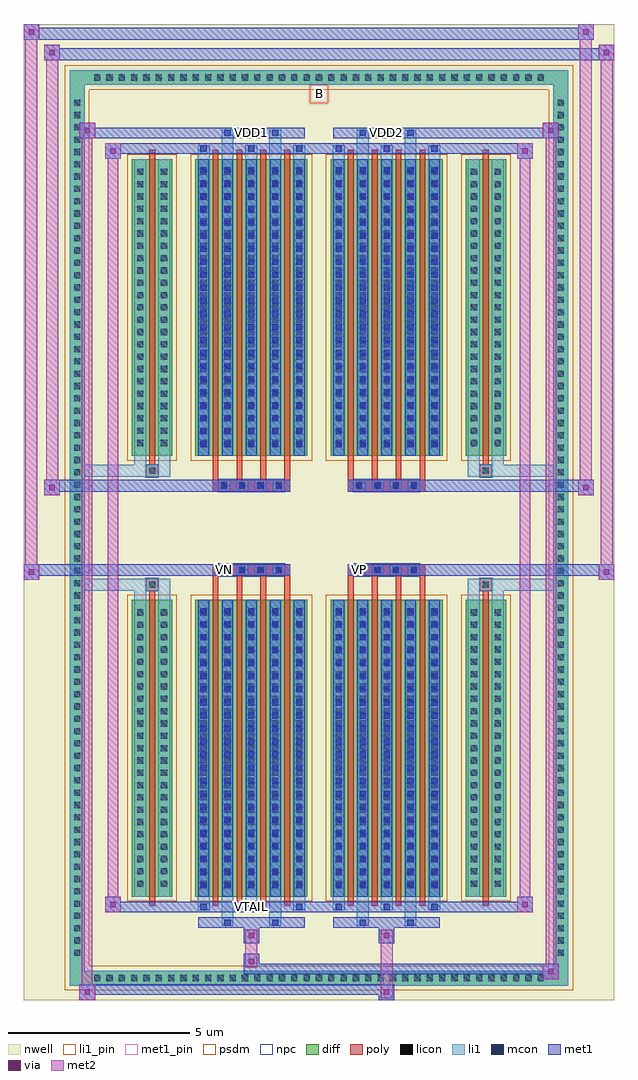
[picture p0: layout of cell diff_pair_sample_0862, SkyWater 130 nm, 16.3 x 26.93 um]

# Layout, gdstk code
import gdstk
lib = gdstk.Library(unit=1e-6, precision=5e-09)
def R(c, l, rs):  # rectangles x0, y0, x1, y1
    for r in rs: c.add(gdstk.rectangle(r[:2], r[2:], *l))
def A(c, l, x, y, w, h, nx, ny, dx, dy):  # array of equal rectangles
    R(c, l, [(x+i*dx, y+j*dy, x+i*dx+w, y+j*dy+h) for i in range(nx) for j in range(ny)])
def P(c, l, *ps):  # polygons
    for p in ps: c.add(gdstk.Polygon(p, *l))
nwell = (64, 20)
diff = (65, 20)
poly = (66, 20)
licon = (66, 44)
li1_pin = (67, 16)
li1 = (67, 20)
mcon = (67, 44)
met1_pin = (68, 16)
met1 = (68, 20)
via = (68, 44)
met2 = (69, 20)
psdm = (94, 20)
npc = (95, 20)

diff_pair_sample_0862 = lib.new_cell('diff_pair_sample_0862')
R(diff_pair_sample_0862, nwell, [(-8.15,-13.03,8.15,13.9), (-5.47,-11.22,-0.01,-0.8), (0.01,-11.22,5.47,-0.8), (-5.47,0.8,-0.01,11.22), (0.01,0.8,5.47,11.22)])
A(diff_pair_sample_0862, diff, -6.325, -12.63, 0.41, 0.41, 37, 2, 0.34, 24.85)
A(diff_pair_sample_0862, diff, -6.88, -11.935, 0.41, 0.41, 1, 70, 0, 0.34)
A(diff_pair_sample_0862, diff, 6.47, -11.935, 0.41, 0.41, 1, 70, 0, 0.34)
R(diff_pair_sample_0862, diff, [(-6.325,-12.63,6.325,-12.22), (-6.88,-11.935,-6.47,11.935), (6.47,-11.935,6.88,11.935), (-5.16,-10.175,-4.05,-1.985), (-3.41,-10.175,-0.32,-1.985), (0.32,-10.175,3.41,-1.985), (4.05,-10.175,5.16,-1.985), (-5.16,1.985,-4.05,10.175), (-3.41,1.985,-0.32,10.175), (0.32,1.985,3.41,10.175), (4.05,1.985,5.16,10.175), (-6.325,12.22,6.325,12.63)])
P(diff_pair_sample_0862, diff, [(6.88,12.63),(-6.88,12.63),(-6.88,-12.22),(-6.47,-12.22),(-6.47,12.22),(6.47,12.22),(6.47,-12.22),(-6.47,-12.22),(-6.88,-12.22),(-6.88,-12.63),(6.88,-12.63)])
A(diff_pair_sample_0862, poly, -2.935, -10.425, 0.16, 8.69, 4, 2, 0.66, 12.16)
A(diff_pair_sample_0862, poly, 0.795, -10.425, 0.16, 8.69, 4, 2, 0.66, 12.16)
A(diff_pair_sample_0862, poly, -2.935, -1.735, 0.16, 0.405, 4, 2, 0.66, 3.065)
A(diff_pair_sample_0862, poly, 0.795, -1.735, 0.16, 0.405, 4, 2, 0.66, 3.065)
A(diff_pair_sample_0862, poly, -2.78, -1.33, 0.33, 0.33, 4, 2, 0.5, 2.33)
A(diff_pair_sample_0862, poly, 0.95, -1.33, 0.33, 0.33, 4, 2, 0.5, 2.33)
R(diff_pair_sample_0862, poly, [(-4.685,-10.425,-4.525,-1.735), (4.525,-10.425,4.685,-1.735), (-4.77,-1.735,-4.44,-1.405), (-4.77,-1.735,-4.44,-1.405), (4.44,-1.735,4.77,-1.405), (4.44,-1.735,4.77,-1.405), (-2.935,-1.33,-0.795,-1), (0.795,-1.33,2.935,-1), (-2.935,1,-0.795,1.33), (0.795,1,2.935,1.33), (-4.77,1.405,-4.44,1.735), (-4.77,1.405,-4.44,1.735), (4.44,1.405,4.77,1.735), (4.44,1.405,4.77,1.735), (-4.685,1.735,-4.525,10.425), (4.525,1.735,4.685,10.425)])
A(diff_pair_sample_0862, licon, -6.205, -12.51, 0.17, 0.17, 37, 2, 0.34, 24.85)
A(diff_pair_sample_0862, licon, -6.76, -11.815, 0.17, 0.17, 1, 70, 0, 0.34)
A(diff_pair_sample_0862, licon, 6.59, -11.815, 0.17, 0.17, 1, 70, 0, 0.34)
A(diff_pair_sample_0862, licon, -5.02, -9.905, 0.17, 0.17, 1, 23, 0, 0.34)
A(diff_pair_sample_0862, licon, -4.36, -9.905, 0.17, 0.17, 1, 23, 0, 0.34)
A(diff_pair_sample_0862, licon, -3.27, -9.905, 0.17, 0.17, 5, 23, 0.66, 0.34)
A(diff_pair_sample_0862, licon, 0.46, -9.905, 0.17, 0.17, 5, 23, 0.66, 0.34)
A(diff_pair_sample_0862, licon, 4.19, -9.905, 0.17, 0.17, 1, 23, 0, 0.34)
A(diff_pair_sample_0862, licon, 4.85, -9.905, 0.17, 0.17, 1, 23, 0, 0.34)
A(diff_pair_sample_0862, licon, -2.7, -1.25, 0.17, 0.17, 4, 2, 0.5, 2.33)
A(diff_pair_sample_0862, licon, 1.03, -1.25, 0.17, 0.17, 4, 2, 0.5, 2.33)
A(diff_pair_sample_0862, licon, -5.02, 2.255, 0.17, 0.17, 1, 23, 0, 0.34)
A(diff_pair_sample_0862, licon, -4.36, 2.255, 0.17, 0.17, 1, 23, 0, 0.34)
A(diff_pair_sample_0862, licon, -3.27, 2.255, 0.17, 0.17, 5, 23, 0.66, 0.34)
A(diff_pair_sample_0862, licon, 0.46, 2.255, 0.17, 0.17, 5, 23, 0.66, 0.34)
A(diff_pair_sample_0862, licon, 4.19, 2.255, 0.17, 0.17, 1, 23, 0, 0.34)
A(diff_pair_sample_0862, licon, 4.85, 2.255, 0.17, 0.17, 1, 23, 0, 0.34)
R(diff_pair_sample_0862, licon, [(-4.69,-1.655,-4.52,-1.485), (4.52,-1.655,4.69,-1.485), (-4.69,1.485,-4.52,1.655), (4.52,1.485,4.69,1.655)])
R(diff_pair_sample_0862, li1_pin, [(-0.25,11.72,0.25,12.22)])
A(diff_pair_sample_0862, li1, -6.285, -12.59, 0.33, 0.33, 37, 2, 0.34, 24.85)
A(diff_pair_sample_0862, li1, -6.84, -11.895, 0.33, 0.33, 1, 70, 0, 0.34)
A(diff_pair_sample_0862, li1, 6.51, -11.895, 0.33, 0.33, 1, 70, 0, 0.34)
A(diff_pair_sample_0862, li1, -3.35, -10.55, 0.33, 0.375, 3, 2, 1.32, 20.725)
A(diff_pair_sample_0862, li1, -3.27, -10.55, 0.17, 0.17, 3, 2, 1.32, 20.93)
A(diff_pair_sample_0862, li1, 0.38, -10.55, 0.33, 0.375, 3, 2, 1.32, 20.725)
A(diff_pair_sample_0862, li1, 0.46, -10.55, 0.17, 0.17, 3, 2, 1.32, 20.93)
A(diff_pair_sample_0862, li1, -3.35, -10.175, 0.33, 8.19, 5, 2, 0.66, 12.16)
A(diff_pair_sample_0862, li1, 0.38, -10.175, 0.33, 8.19, 5, 2, 0.66, 12.16)
A(diff_pair_sample_0862, li1, -5.1, -9.985, 0.33, 0.33, 1, 23, 0, 0.34)
A(diff_pair_sample_0862, li1, -4.44, -9.985, 0.33, 0.33, 1, 23, 0, 0.34)
A(diff_pair_sample_0862, li1, -3.35, -9.985, 0.33, 0.33, 5, 23, 0.66, 0.34)
A(diff_pair_sample_0862, li1, 0.38, -9.985, 0.33, 0.33, 5, 23, 0.66, 0.34)
A(diff_pair_sample_0862, li1, 4.11, -9.985, 0.33, 0.33, 1, 23, 0, 0.34)
A(diff_pair_sample_0862, li1, 4.77, -9.985, 0.33, 0.33, 1, 23, 0, 0.34)
A(diff_pair_sample_0862, li1, -3.27, -9.945, 0.17, 0.17, 5, 22, 0.66, 0.36)
A(diff_pair_sample_0862, li1, -3.27, -9.945, 0.17, 7.73, 5, 2, 0.66, 12.16)
A(diff_pair_sample_0862, li1, 0.46, -9.945, 0.17, 0.17, 5, 22, 0.66, 0.36)
A(diff_pair_sample_0862, li1, 0.46, -9.945, 0.17, 7.73, 5, 2, 0.66, 12.16)
A(diff_pair_sample_0862, li1, -5.1, -1.735, 0.33, 0.33, 3, 2, 0.33, 3.14)
A(diff_pair_sample_0862, li1, 4.11, -1.735, 0.33, 0.33, 3, 2, 0.33, 3.14)
A(diff_pair_sample_0862, li1, -2.78, -1.33, 0.33, 0.33, 4, 2, 0.5, 2.33)
A(diff_pair_sample_0862, li1, 0.95, -1.33, 0.33, 0.33, 4, 2, 0.5, 2.33)
A(diff_pair_sample_0862, li1, -5.1, 2.175, 0.33, 0.33, 1, 23, 0, 0.34)
A(diff_pair_sample_0862, li1, -4.44, 2.175, 0.33, 0.33, 1, 23, 0, 0.34)
A(diff_pair_sample_0862, li1, -3.35, 2.175, 0.33, 0.33, 5, 23, 0.66, 0.34)
A(diff_pair_sample_0862, li1, 0.38, 2.175, 0.33, 0.33, 5, 23, 0.66, 0.34)
A(diff_pair_sample_0862, li1, 4.11, 2.175, 0.33, 0.33, 1, 23, 0, 0.34)
A(diff_pair_sample_0862, li1, 4.77, 2.175, 0.33, 0.33, 1, 23, 0, 0.34)
A(diff_pair_sample_0862, li1, -3.27, 2.215, 0.17, 0.17, 5, 22, 0.66, 0.36)
A(diff_pair_sample_0862, li1, 0.46, 2.215, 0.17, 0.17, 5, 22, 0.66, 0.36)
R(diff_pair_sample_0862, li1, [(-6.88,-12.63,-6.47,-12.22), (-6.88,-12.63,-6.47,-12.22), (-6.47,-12.63,6.47,-12.22), (6.47,-12.63,6.88,-12.22), (6.47,-12.63,6.88,-12.22), (-6.88,-12.22,-6.47,12.22), (6.47,-12.22,6.88,12.22), (-2.69,-10.98,-2.36,-10.175), (-2.61,-10.98,-2.44,-10.81), (-1.37,-10.98,-1.04,-10.175), (-1.29,-10.98,-1.12,-10.81), (1.04,-10.98,1.37,-10.175), (1.12,-10.98,1.29,-10.81), (2.36,-10.98,2.69,-10.175), (2.44,-10.98,2.61,-10.81), (-5.1,-10.175,-4.77,-1.985), (-4.44,-10.175,-4.11,-1.985), (4.11,-10.175,4.44,-1.985), (4.77,-10.175,5.1,-1.985), (-5.1,-1.985,-4.77,-1.405), (-4.44,-1.985,-4.11,-1.405), (4.11,-1.985,4.44,-1.405), (4.77,-1.985,5.1,-1.405), (-6.88,-1.735,-4.77,-1.405), (4.44,-1.735,6.88,-1.405), (-6.88,1.405,-4.77,1.735), (-5.1,1.405,-4.77,1.985), (-4.44,1.405,-4.11,1.985), (4.11,1.405,4.44,1.985), (4.44,1.405,6.88,1.735), (4.77,1.405,5.1,1.985), (-5.1,1.985,-4.77,10.175), (-4.44,1.985,-4.11,10.175), (4.11,1.985,4.44,10.175), (4.77,1.985,5.1,10.175), (-2.69,10.175,-2.36,10.98), (-1.37,10.175,-1.04,10.98), (1.04,10.175,1.37,10.98), (2.36,10.175,2.69,10.98), (-2.61,10.81,-2.44,10.98), (-1.29,10.81,-1.12,10.98), (1.12,10.81,1.29,10.98), (2.44,10.81,2.61,10.98), (-6.88,12.22,-6.47,12.63), (-6.88,12.22,-6.47,12.63), (-6.47,12.22,6.47,12.63), (6.47,12.22,6.88,12.63), (6.47,12.22,6.88,12.63)])
A(diff_pair_sample_0862, mcon, -3.27, -10.55, 0.17, 0.17, 3, 2, 1.32, 20.93)
A(diff_pair_sample_0862, mcon, 0.46, -10.55, 0.17, 0.17, 3, 2, 1.32, 20.93)
A(diff_pair_sample_0862, mcon, -3.27, -9.945, 0.17, 0.17, 5, 22, 0.66, 0.36)
A(diff_pair_sample_0862, mcon, 0.46, -9.945, 0.17, 0.17, 5, 22, 0.66, 0.36)
A(diff_pair_sample_0862, mcon, -2.7, -1.25, 0.17, 0.17, 4, 2, 0.5, 2.33)
A(diff_pair_sample_0862, mcon, 1.03, -1.25, 0.17, 0.17, 4, 2, 0.5, 2.33)
A(diff_pair_sample_0862, mcon, -3.27, 2.215, 0.17, 0.17, 5, 22, 0.66, 0.36)
A(diff_pair_sample_0862, mcon, 0.46, 2.215, 0.17, 0.17, 5, 22, 0.66, 0.36)
R(diff_pair_sample_0862, mcon, [(-2.61,-10.98,-2.44,-10.81), (-1.29,-10.98,-1.12,-10.81), (1.12,-10.98,1.29,-10.81), (2.44,-10.98,2.61,-10.81), (-2.61,10.81,-2.44,10.98), (-1.29,10.81,-1.12,10.98), (1.12,10.81,1.29,10.98), (2.44,10.81,2.61,10.98)])
R(diff_pair_sample_0862, met1_pin, [(-2,-10.59,-1.73,-10.32), (-2.75,-1.29,-2.48,-1.02), (0.98,-1.29,1.25,-1.02), (-2,10.77,-1.73,11.04), (1.73,10.77,2,11.04)])
A(diff_pair_sample_0862, met1, -3.33, -10.61, 0.29, 0.29, 3, 2, 1.32, 20.93)
A(diff_pair_sample_0862, met1, 0.4, -10.61, 0.29, 0.29, 3, 2, 1.32, 20.93)
A(diff_pair_sample_0862, met1, -3.33, -10.175, 0.29, 8.19, 5, 2, 0.66, 12.16)
A(diff_pair_sample_0862, met1, 0.4, -10.175, 0.29, 8.19, 5, 2, 0.66, 12.16)
A(diff_pair_sample_0862, met1, -3.33, -10.005, 0.29, 0.29, 5, 22, 0.66, 0.36)
A(diff_pair_sample_0862, met1, 0.4, -10.005, 0.29, 0.29, 5, 22, 0.66, 0.36)
A(diff_pair_sample_0862, met1, -2.76, -1.31, 0.29, 0.29, 4, 2, 0.5, 2.33)
A(diff_pair_sample_0862, met1, 0.97, -1.31, 0.29, 0.29, 4, 2, 0.5, 2.33)
A(diff_pair_sample_0862, met1, -3.33, 2.155, 0.29, 0.29, 5, 22, 0.66, 0.36)
A(diff_pair_sample_0862, met1, 0.4, 2.155, 0.29, 0.29, 5, 22, 0.66, 0.36)
R(diff_pair_sample_0862, met1, [(-6.61,-13.03,-6.18,-12.6), (1.65,-13.03,2.08,-12.6), (-6.61,-12.89,2.08,-12.6), (6.18,-12.46,6.61,-12.03), (-2.08,-12.32,6.61,-12.03), (-2.08,-12.18,-1.65,-11.75), (-2.08,-11.47,-1.65,-11.04), (1.65,-11.47,2.08,-11.04), (-3.33,-11.04,-0.4,-10.75), (-2.67,-11.04,-2.38,-10.75), (-1.35,-11.04,-1.06,-10.75), (0.4,-11.04,3.33,-10.75), (1.06,-11.04,1.35,-10.75), (2.38,-11.04,2.67,-10.75), (-5.9,-10.61,-5.47,-10.18), (-5.9,-10.61,-3.33,-10.32), (-3.33,-10.61,-0.4,-10.32), (-0.4,-10.61,0.4,-10.32), (0.4,-10.61,3.33,-10.32), (3.33,-10.61,5.9,-10.32), (5.47,-10.61,5.9,-10.18), (-8.15,-1.43,-7.72,-1), (7.72,-1.43,8.15,-1), (-8.15,-1.33,-0.795,-1), (-2.935,-1.33,-0.795,-1), (0.795,-1.33,2.935,-1), (0.795,-1.33,8.15,-1), (-7.58,0.9,-7.15,1.33), (7.15,0.9,7.58,1.33), (-7.58,1,-2.935,1.33), (-2.935,1,-0.795,1.33), (0.795,1,2.935,1.33), (2.935,1,7.58,1.33), (-5.9,10.18,-5.47,10.61), (5.47,10.18,5.9,10.61), (-5.9,10.32,-3.33,10.61), (-3.33,10.32,-0.4,10.61), (-0.4,10.32,0.4,10.61), (0.4,10.32,3.33,10.61), (3.33,10.32,5.9,10.61), (-6.61,10.75,-6.18,11.18), (-6.61,10.75,-3.33,11.04), (-3.33,10.75,-0.4,11.04), (-2.67,10.75,-2.38,11.04), (-1.35,10.75,-1.06,11.04), (0.4,10.75,3.33,11.04), (1.06,10.75,1.35,11.04), (2.38,10.75,2.67,11.04), (3.33,10.75,6.61,11.04), (6.18,10.75,6.61,11.18), (-7.58,12.9,-7.15,13.33), (-7.58,12.9,-5.47,13.23), (-5.47,12.9,5.47,13.23), (5.47,12.9,8.15,13.23), (7.72,12.9,8.15,13.33), (-8.15,13.47,-7.72,13.9), (-8.15,13.47,-5.47,13.8), (-5.47,13.47,5.47,13.8), (5.47,13.47,7.58,13.8), (7.15,13.47,7.58,13.9)])
R(diff_pair_sample_0862, via, [(-6.47,-12.89,-6.32,-12.74), (1.79,-12.89,1.94,-12.74), (6.32,-12.32,6.47,-12.17), (-1.94,-12.04,-1.79,-11.89), (-1.94,-11.33,-1.79,-11.18), (1.79,-11.33,1.94,-11.18), (-5.76,-10.47,-5.61,-10.32), (5.61,-10.47,5.76,-10.32), (-8.01,-1.29,-7.86,-1.14), (7.86,-1.29,8.01,-1.14), (-7.44,1.04,-7.29,1.19), (7.29,1.04,7.44,1.19), (-5.76,10.32,-5.61,10.47), (5.61,10.32,5.76,10.47), (-6.47,10.89,-6.32,11.04), (6.32,10.89,6.47,11.04), (-7.44,13.04,-7.29,13.19), (7.86,13.04,8.01,13.19), (-8.01,13.61,-7.86,13.76), (7.29,13.61,7.44,13.76)])
R(diff_pair_sample_0862, met2, [(-6.61,-13.03,-6.18,-12.6), (-6.54,-13.03,-6.25,11.18), (-6.25,-13.03,-6.18,-12.6), (-6.56,-12.98,-6.23,-12.65), (1.7,-12.98,2.03,-12.65), (1.7,-12.65,2.03,-11.42), (6.18,-12.46,6.61,-12.03), (6.25,-12.46,6.54,11.18), (6.54,-12.46,6.61,-12.03), (6.23,-12.41,6.56,-12.08), (-2.03,-12.13,-1.7,-11.8), (-2.03,-11.8,-1.7,-11.42), (-2.03,-11.42,-1.7,-11.09), (1.7,-11.42,2.03,-11.09), (-5.9,-10.61,-5.47,-10.18), (-5.83,-10.61,-5.54,10.61), (-5.54,-10.61,-5.47,-10.18), (5.47,-10.61,5.9,-10.18), (5.54,-10.61,5.83,10.61), (5.83,-10.61,5.9,-10.18), (-5.85,-10.56,-5.52,-10.23), (5.52,-10.56,5.85,-10.23), (-8.15,-1.43,-7.72,-1), (-8.1,-1.43,-7.77,13.9), (-7.77,-1.43,-7.72,-1), (7.72,-1.43,8.15,-1), (7.77,-1.43,8.1,13.33), (8.1,-1.43,8.15,-1), (-8.1,-1.38,-7.77,-1.05), (7.77,-1.38,8.1,-1.05), (-7.58,0.9,-7.15,1.33), (-7.53,0.9,-7.2,13.33), (-7.2,0.9,-7.15,1.33), (7.15,0.9,7.58,1.33), (7.2,0.9,7.53,13.9), (7.53,0.9,7.58,1.33), (-7.53,0.95,-7.2,1.28), (7.2,0.95,7.53,1.28), (-5.9,10.18,-5.47,10.61), (-5.54,10.18,-5.47,10.61), (5.47,10.18,5.9,10.61), (5.83,10.18,5.9,10.61), (-5.85,10.23,-5.52,10.56), (5.52,10.23,5.85,10.56), (-6.61,10.75,-6.18,11.18), (-6.25,10.75,-6.18,11.18), (6.18,10.75,6.61,11.18), (6.54,10.75,6.61,11.18), (-6.56,10.8,-6.23,11.13), (6.23,10.8,6.56,11.13), (-7.58,12.9,-7.15,13.33), (-7.2,12.9,-7.15,13.33), (7.72,12.9,8.15,13.33), (8.1,12.9,8.15,13.33), (-7.53,12.95,-7.2,13.28), (7.77,12.95,8.1,13.28), (-8.15,13.47,-7.72,13.9), (-7.77,13.47,-7.72,13.9), (7.15,13.47,7.58,13.9), (7.53,13.47,7.58,13.9), (-8.1,13.52,-7.77,13.85), (7.2,13.52,7.53,13.85)])
R(diff_pair_sample_0862, psdm, [(-5.29,-10.305,-3.92,-1.855), (-3.54,-10.305,-0.19,-1.855), (0.19,-10.305,3.54,-1.855), (3.92,-10.305,5.29,-1.855), (-5.29,1.855,-3.92,10.305), (-3.54,1.855,-0.19,10.305), (0.19,1.855,3.54,10.305), (3.92,1.855,5.29,10.305)])
P(diff_pair_sample_0862, psdm, [(7.01,12.76),(-7.01,12.76),(-7.01,-12.09),(-6.34,-12.09),(-6.34,12.09),(6.34,12.09),(6.34,-12.09),(-6.34,-12.09),(-7.01,-12.09),(-7.01,-12.76),(7.01,-12.76)])
A(diff_pair_sample_0862, npc, -2.8, -1.35, 0.37, 0.37, 4, 2, 0.5, 2.33)
A(diff_pair_sample_0862, npc, 0.93, -1.35, 0.37, 0.37, 4, 2, 0.5, 2.33)
R(diff_pair_sample_0862, npc, [(-4.79,-1.755,-4.42,-1.385), (4.42,-1.755,4.79,-1.385), (-2.8,-1.35,-1.93,-0.98), (-2.8,-1.35,-1.93,-0.98), (-2.3,-1.35,-1.43,-0.98), (-2.3,-1.35,-1.43,-0.98), (-1.8,-1.35,-0.93,-0.98), (-1.8,-1.35,-0.93,-0.98), (0.93,-1.35,1.8,-0.98), (0.93,-1.35,1.8,-0.98), (1.43,-1.35,2.3,-0.98), (1.43,-1.35,2.3,-0.98), (1.93,-1.35,2.8,-0.98), (1.93,-1.35,2.8,-0.98), (-2.8,0.98,-1.93,1.35), (-2.8,0.98,-1.93,1.35), (-2.3,0.98,-1.43,1.35), (-2.3,0.98,-1.43,1.35), (-1.8,0.98,-0.93,1.35), (-1.8,0.98,-0.93,1.35), (0.93,0.98,1.8,1.35), (0.93,0.98,1.8,1.35), (1.43,0.98,2.3,1.35), (1.43,0.98,2.3,1.35), (1.93,0.98,2.8,1.35), (1.93,0.98,2.8,1.35), (-4.79,1.385,-4.42,1.755), (4.42,1.385,4.79,1.755)])
diff_pair_sample_0862.add(gdstk.Label('VTAIL', (-1.865,-10.455), layer=68, texttype=5))
diff_pair_sample_0862.add(gdstk.Label('VN', (-2.615,-1.155), layer=68, texttype=5))
diff_pair_sample_0862.add(gdstk.Label('VP', (1.115,-1.155), layer=68, texttype=5))
diff_pair_sample_0862.add(gdstk.Label('B', (0,11.97), layer=67, texttype=5))
diff_pair_sample_0862.add(gdstk.Label('VDD2', (1.865,10.905), layer=68, texttype=5))
diff_pair_sample_0862.add(gdstk.Label('VDD1', (-1.865,10.905), layer=68, texttype=5))

lib.write_gds('diff_pair_sample_0862.gds')
